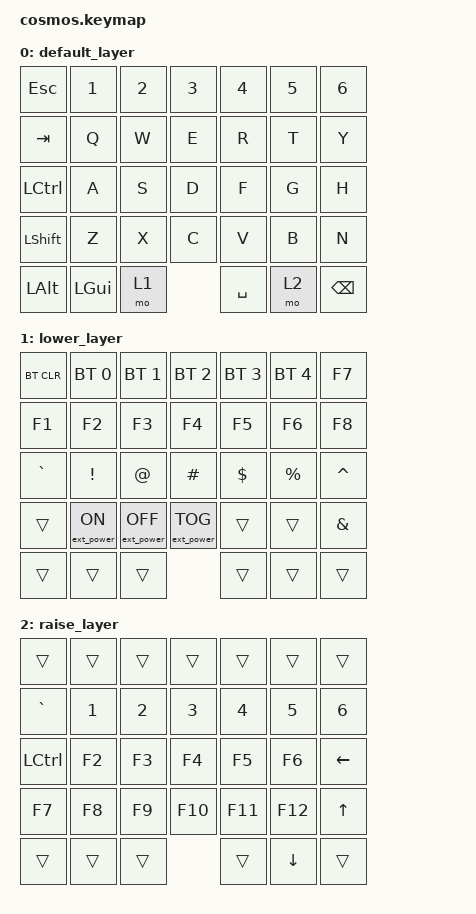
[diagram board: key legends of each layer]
/*
 * Copyright (c) 2022 The ZMK Contributors
 *
 * SPDX-License-Identifier: MIT
 */

#include <behaviors.dtsi>
#include <dt-bindings/zmk/keys.h>
#include <dt-bindings/zmk/bt.h>
#include <dt-bindings/zmk/ext_power.h>

/ {
    keymap {
        compatible = "zmk,keymap";

        default_layer {
// -----------------------------------------------------------------------
// |  ESC  |  1  |  2  |  3   |  4   |  5   |  6   |
// |  TAB  |  Q  |  W  |  E   |  R   |  T   |  Y   |
// |  CTRL |  A  |  S  |  D   |  F   |  G   |  H   |
// | SHIFT |  Z  |  X  |  C   |  V   |  B   |  N   |
// |  ALT  | LGUI| LOWER|  SPACE  |  RAISE | BSPC |
            bindings = <
&kp ESC   &kp N1 &kp N2 &kp N3   &kp N4   &kp N5   &kp N6
&kp TAB   &kp Q  &kp W  &kp E    &kp R    &kp T    &kp Y
&kp LCTRL &kp A  &kp S  &kp D    &kp F    &kp G    &kp H
&kp LSHFT &kp Z  &kp X  &kp C    &kp V    &kp B    &kp N
&kp LALT  &kp LGUI &mo 1 &kp SPACE       &mo 2    &kp BSPC
            >;
        };

        lower_layer {
// -----------------------------------------------------------------------
// | BTCLR | BT1 | BT2 |  BT3 |  BT4 |  BT5 |  F7  |
// |  F1   |  F2 |  F3 |  F4  |  F5  |  F6  |  F8  |
// |   `   |  !  |  @  |  #   |  $   |  %   |  ^   |
// |       |     |     |      |      |      |  &   |
// |       |     |     |        |      |      |
            bindings = <
&bt BT_CLR &bt BT_SEL 0     &bt BT_SEL 1      &bt BT_SEL 2      &bt BT_SEL 3 &bt BT_SEL 4 &kp F7
&kp F1     &kp F2           &kp F3            &kp F4            &kp F5       &kp F6       &kp F8
&kp GRAVE  &kp EXCL         &kp AT            &kp HASH          &kp DOLLAR   &kp PRCNT    &kp CARET
&trans     &ext_power EP_ON &ext_power EP_OFF &ext_power EP_TOG &trans       &trans       &kp AMPS
&trans     &trans           &trans            &trans                         &trans       &trans
            >;
        };

        raise_layer {
// -----------------------------------------------------------------------
// |       |     |     |      |      |      |      |
// |   `   |  1  |  2  |  3   |  4   |  5   |  6   |
// |   F1  |  F2 |  F3 |  F4  |  F5  |  F6  |  <-  |
// |   F7  |  F8 |  F9 |  F10 |  F11 |  F12 |  ^   |
// |       |     |     |        |      | DOWN |
            bindings = <
&trans    &trans &trans &trans  &trans  &trans  &trans
&kp GRAVE &kp N1 &kp N2 &kp N3  &kp N4  &kp N5  &kp N6
&kp LCTRL &kp F2 &kp F3 &kp F4  &kp F5  &kp F6  &kp LEFT
&kp F7    &kp F8 &kp F9 &kp F10 &kp F11 &kp F12 &kp UP
&trans    &trans &trans &trans              &kp DOWN &trans
            >;
        };
    };
};
